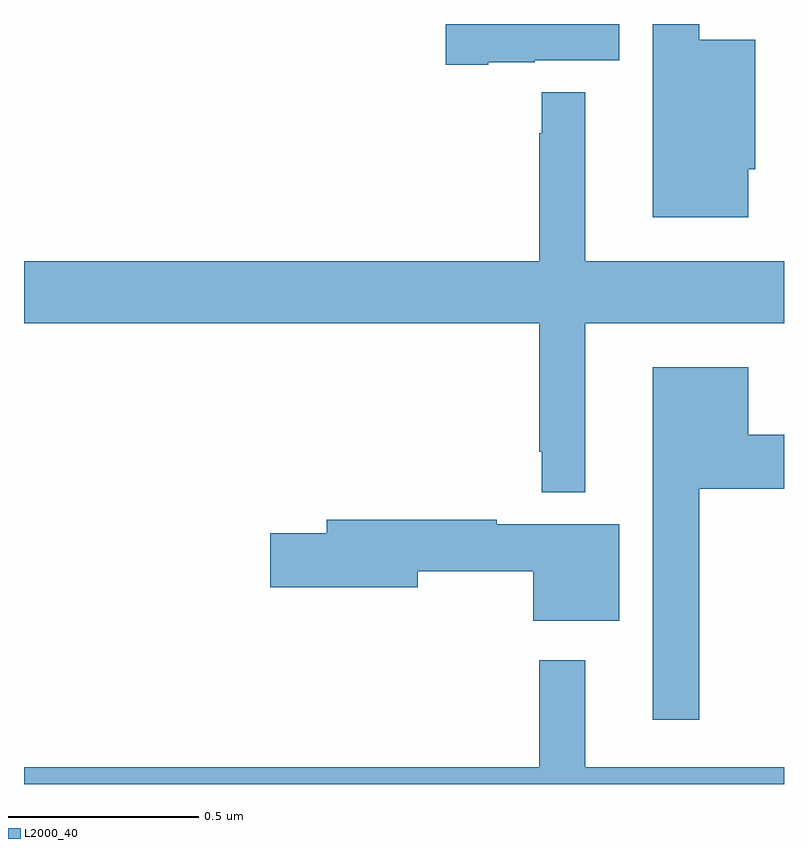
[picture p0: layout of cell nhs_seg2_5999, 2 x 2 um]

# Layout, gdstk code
import gdstk
lib = gdstk.Library(unit=1e-6, precision=1e-09)
def P(c, l, *ps):  # polygons
    for p in ps: c.add(gdstk.Polygon(p, *l))
L2000_40 = (2000, 40)

nhs_seg2_5999 = lib.new_cell('nhs_seg2_5999')
P(nhs_seg2_5999, L2000_40, [(187.222,605.699),(187.344,605.699),(187.344,605.705),(187.567,605.705),(187.567,605.8),(187.11,605.8),(187.11,605.693),(187.222,605.693)],
  [(187.906,605.418),(187.924,605.418),(187.924,605.758),(187.777,605.758),(187.777,605.8),(187.655,605.8),(187.655,605.291),(187.906,605.291)],
  [(187.477,605.012),(188,605.012),(188,605.176),(187.477,605.176),(187.477,605.62),(187.363,605.62),(187.363,605.513),(187.356,605.513),(187.356,605.176),(186,605.176),(186,605.012),(187.356,605.012),(187.356,604.675),(187.362,604.675),(187.362,604.568),(187.477,604.568)],
  [(187.777,604.577),(188,604.577),(188,604.719),(187.906,604.719),(187.906,604.897),(187.655,604.897),(187.655,603.969),(187.777,603.969)],
  [(187.567,604.483),(187.244,604.483),(187.244,604.496),(186.797,604.496),(186.797,604.46),(186.648,604.46),(186.648,604.318),(187.036,604.318),(187.036,604.36),(187.34,604.36),(187.34,604.229),(187.567,604.229)],
  [(188,603.844),(187.477,603.844),(187.477,604.126),(187.356,604.126),(187.356,603.844),(186,603.844),(186,603.8),(188,603.8)])

lib.write_gds('nhs_seg2_5999.gds')
